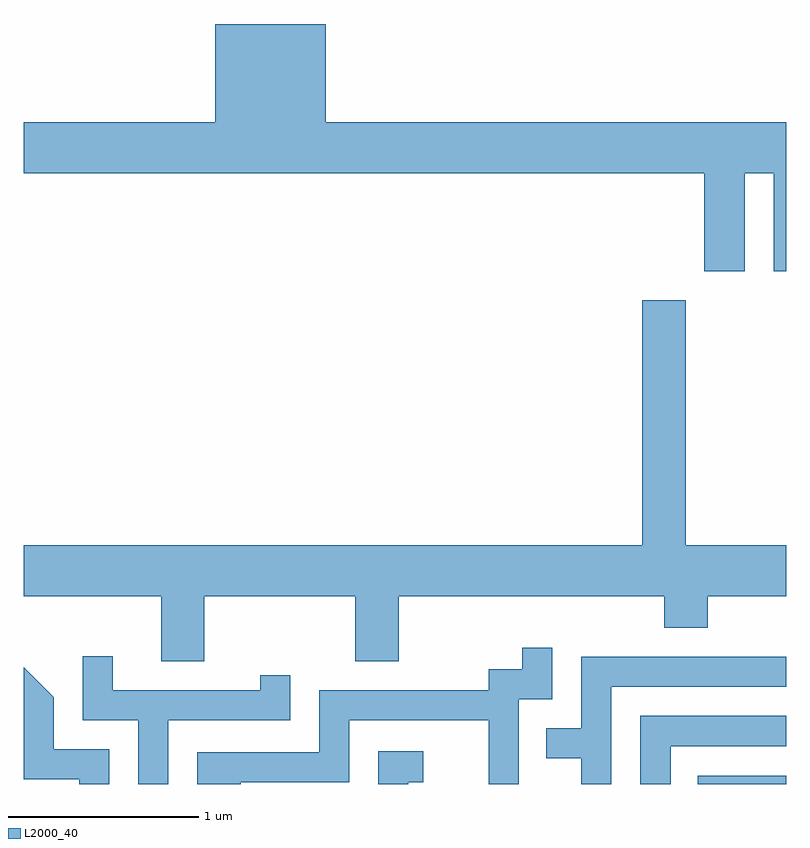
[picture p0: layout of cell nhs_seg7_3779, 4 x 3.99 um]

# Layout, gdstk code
import gdstk
lib = gdstk.Library(unit=1e-6, precision=1e-09)
def R(c, l, rs):  # rectangles x0, y0, x1, y1
    for r in rs: c.add(gdstk.rectangle(r[:2], r[2:], *l))
def P(c, l, *ps):  # polygons
    for p in ps: c.add(gdstk.Polygon(p, *l))
L2000_40 = (2000, 40)

nhs_seg7_3779 = lib.new_cell('nhs_seg7_3779')
R(nhs_seg7_3779, L2000_40, [(305.148,1682.252,305.611,1682.294)])
P(nhs_seg7_3779, L2000_40, [(305.394,1685.456),(305.546,1685.456),(305.546,1684.941),(305.611,1684.941),(305.611,1685.724),(303.194,1685.724),(303.194,1686.239),(302.616,1686.239),(302.616,1685.724),(301.611,1685.724),(301.611,1685.456),(305.181,1685.456),(305.181,1684.941),(305.394,1684.941)],
  [(302.559,1683.236),(303.351,1683.236),(303.351,1682.896),(303.579,1682.896),(303.579,1683.236),(304.971,1683.236),(304.971,1683.071),(305.199,1683.071),(305.199,1683.236),(305.611,1683.236),(305.611,1683.504),(305.084,1683.504),(305.084,1684.789),(304.856,1684.789),(304.856,1683.504),(301.611,1683.504),(301.611,1683.236),(302.331,1683.236),(302.331,1682.896),(302.559,1682.896)],
  [(302.749,1682.261),(303.319,1682.261),(303.319,1682.586),(304.051,1682.586),(304.051,1682.252),(304.209,1682.252),(304.209,1682.696),(304.384,1682.696),(304.384,1682.968),(304.226,1682.968),(304.226,1682.854),(304.051,1682.854),(304.051,1682.744),(303.161,1682.744),(303.161,1682.419),(302.521,1682.419),(302.521,1682.252),(302.749,1682.252)],
  [(302.369,1682.586),(303.009,1682.586),(303.009,1682.823),(302.851,1682.823),(302.851,1682.744),(302.079,1682.744),(302.079,1682.923),(301.921,1682.923),(301.921,1682.586),(302.211,1682.586),(302.211,1682.252),(302.369,1682.252)],
  [(304.694,1682.761),(305.611,1682.761),(305.611,1682.919),(304.536,1682.919),(304.536,1682.544),(304.353,1682.544),(304.353,1682.386),(304.536,1682.386),(304.536,1682.252),(304.694,1682.252)],
  [(302.059,1682.434),(301.769,1682.434),(301.769,1682.707),(301.611,1682.865),(301.611,1682.276),(301.901,1682.276),(301.901,1682.252),(302.059,1682.252)],
  [(305.004,1682.451),(305.611,1682.451),(305.611,1682.609),(304.846,1682.609),(304.846,1682.252),(305.004,1682.252)],
  [(303.629,1682.261),(303.708,1682.261),(303.708,1682.424),(303.471,1682.424),(303.471,1682.252),(303.629,1682.252)])

lib.write_gds('nhs_seg7_3779.gds')
